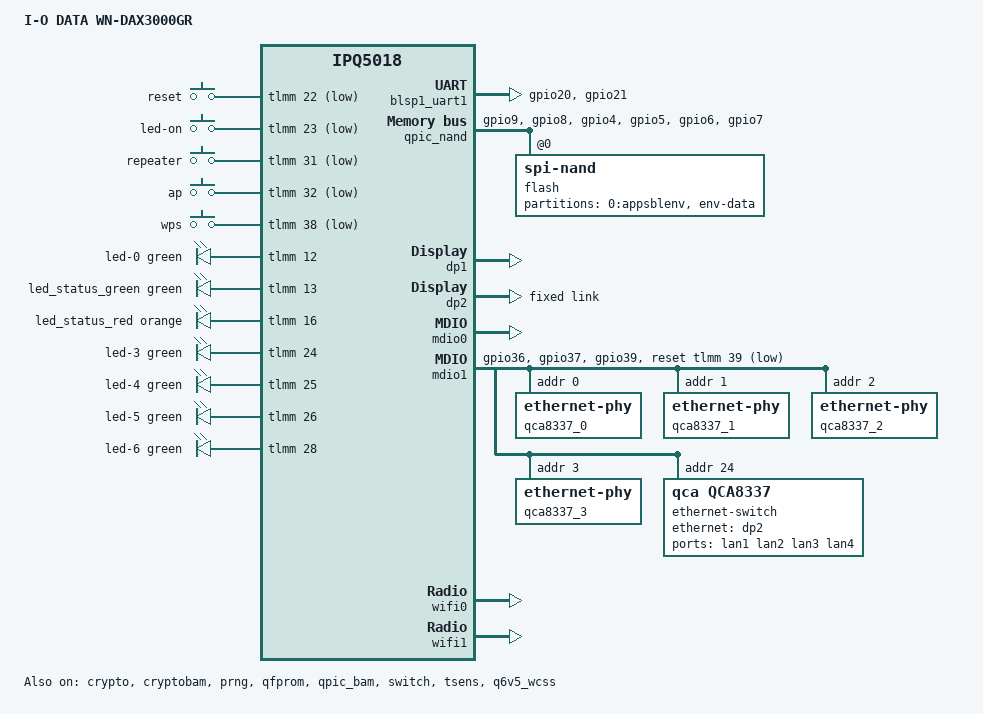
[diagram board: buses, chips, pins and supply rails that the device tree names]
// SPDX-License-Identifier: GPL-2.0-or-later OR MIT

/dts-v1/;

#include "ipq5018.dtsi"
#include "ipq5018-ess.dtsi"

#include <dt-bindings/gpio/gpio.h>
#include <dt-bindings/input/input.h>
#include <dt-bindings/leds/common.h>

/ {
	model = "I-O DATA WN-DAX3000GR";
	compatible = "iodata,wn-dax3000gr", "qcom,ipq5018";

	aliases {
		serial0 = &blsp1_uart1;
		led-boot = &led_status_green;
		led-failsafe = &led_status_red;
		led-upgrade = &led_status_green;
		label-mac-device = <&dp1>;
	};

	chosen {
		bootargs-append = " root=/dev/ubiblock0_1 coherent_pool=2M";
		stdout-path = "serial0:115200n8";
	};

	keys {
		compatible = "gpio-keys";
		pinctrl-0 = <&button_pins>;
		pinctrl-names = "default";

		button-reset {
			label = "reset";
			gpios = <&tlmm 22 GPIO_ACTIVE_LOW>;
			linux,code = <KEY_RESTART>;
		};

		switch-led-on {
			label = "led-on";
			gpios = <&tlmm 23 GPIO_ACTIVE_LOW>;
			linux,code = <BTN_0>;
			linux,input-type = <EV_SW>;
		};

		switch-repeater {
			label = "repeater";
			gpios = <&tlmm 31 GPIO_ACTIVE_LOW>;
			linux,code = <BTN_1>;
			linux,input-type = <EV_SW>;
		};

		switch-ap {
			label = "ap";
			gpios = <&tlmm 32 GPIO_ACTIVE_LOW>;
			linux,code = <BTN_2>;
			linux,input-type = <EV_SW>;
		};

		button-wps {
			label = "wps";
			gpios = <&tlmm 38 GPIO_ACTIVE_LOW>;
			linux,code = <KEY_WPS_BUTTON>;
		};
	};

	leds {
		compatible = "gpio-leds";
		pinctrl-0 = <&led_pins>;
		pinctrl-names = "default";

		led-0 {
			gpios = <&tlmm 12 GPIO_ACTIVE_HIGH>;
			color = <LED_COLOR_ID_GREEN>;
			function = LED_FUNCTION_WPS;
		};

		led_status_green: led-1 {
			gpios = <&tlmm 13 GPIO_ACTIVE_HIGH>;
			color = <LED_COLOR_ID_GREEN>;
			function = LED_FUNCTION_STATUS;
		};

		led_status_red: led-2 {
			gpios = <&tlmm 16 GPIO_ACTIVE_HIGH>;
			color = <LED_COLOR_ID_ORANGE>;
			function = LED_FUNCTION_STATUS;
		};

		led-3 {
			gpios = <&tlmm 24 GPIO_ACTIVE_HIGH>;
			color = <LED_COLOR_ID_GREEN>;
			function = LED_FUNCTION_WAN_ONLINE;
		};

		led-4 {
			gpios = <&tlmm 25 GPIO_ACTIVE_HIGH>;
			color = <LED_COLOR_ID_GREEN>;
			function = "router";
		};

		led-5 {
			gpios = <&tlmm 26 GPIO_ACTIVE_HIGH>;
			color = <LED_COLOR_ID_GREEN>;
			function = LED_FUNCTION_POWER;
			default-state = "on";
		};

		led-6 {
			gpios = <&tlmm 28 GPIO_ACTIVE_HIGH>;
			color = <LED_COLOR_ID_GREEN>;
			function = LED_FUNCTION_WAN;
		};
	};

	reserved-memory {
		q6_mem_regions: q6_mem_regions@4b000000 {
			no-map;
			reg = <0x0 0x4b000000 0x0 0x3000000>;
		};
	};
};

&sleep_clk {
	clock-frequency = <32000>;
};

&xo_board_clk {
	clock-frequency = <24000000>;
};

&blsp1_uart1 {
	status = "okay";

	pinctrl-0 = <&serial_0_pins>;
	pinctrl-names = "default";
};

&crypto {
	status = "okay";
};

&cryptobam {
	status = "okay";
};

&prng {
	status = "okay";
};

&qfprom {
	status = "okay";
};

&qpic_bam {
	status = "okay";
};

&qpic_nand {
	pinctrl-0 = <&qpic_pins>;
	pinctrl-names = "default";
	status = "okay";

	flash@0 {
		compatible = "spi-nand";
		reg = <0>;
		#address-cells = <1>;
		#size-cells = <1>;

		nand-ecc-engine = <&qpic_nand>;

		/* strength=8 breaks NAND I/O, use 4 instead */
		nand-ecc-strength = <4>;
		nand-ecc-step-size = <512>;
		nand-bus-width = <8>;

		partitions {
			compatible = "qcom,smem-part";

			partition-0-appsblenv {
				compatible = "fixed-partitions";
				label = "0:appsblenv";
				#address-cells = <1>;
				#size-cells = <1>;

				partition@0 {
					label = "env-data";
					reg = <0x0 0x40000>;

					nvmem-layout {
						compatible = "u-boot,env";

						macaddr_appsblenv_ethaddr: ethaddr {
							compatible = "mac-base";
							#nvmem-cell-cells = <1>;
						};
					};
				};
			};
		};
	};
};

&switch {
	status = "okay";

	switch_mac_mode = <MAC_MODE_SGMII_CHANNEL0>;

	qcom,port_phyinfo {
		port@0 {
			port_id = <1>;
			mdiobus = <&mdio0>;
			phy_address = <7>;
		};

		port@1 {
			port_id = <2>;
			forced-speed = <1000>;
			forced-duplex = <1>;
		};
	};
};

&dp1 {
	status = "okay";

	label = "wan";
	nvmem-cells = <&macaddr_appsblenv_ethaddr 2>;
	nvmem-cell-names = "mac-address";
};

&dp2 {
	status = "okay";

	nvmem-cells = <&macaddr_appsblenv_ethaddr 0>;
	nvmem-cell-names = "mac-address";

	fixed-link {
		speed = <1000>;
		full-duplex;
	};
};

&mdio0 {
	status = "okay";
};

&mdio1 {
	status = "okay";

	pinctrl-0 = <&mdio1_pins>, <&switch_reset_pins>;
	pinctrl-names = "default";
	reset-gpios = <&tlmm 39 GPIO_ACTIVE_LOW>;

	qca8337_0: ethernet-phy@0 {
		reg = <0>;
	};

	qca8337_1: ethernet-phy@1 {
		reg = <1>;
	};

	qca8337_2: ethernet-phy@2 {
		reg = <2>;
	};

	qca8337_3: ethernet-phy@3 {
		reg = <3>;
	};

	ethernet-switch@18 {
		compatible = "qca,qca8337";
		reg = <0x18>;
		#address-cells = <1>;
		#size-cells = <0>;

		ports {
			#address-cells = <1>;
			#size-cells = <0>;

			port@1 {
				reg = <1>;
				label = "lan1";
				phy-handle = <&qca8337_0>;
			};

			port@2 {
				reg = <2>;
				label = "lan2";
				phy-handle = <&qca8337_1>;
			};

			port@3 {
				reg = <3>;
				label = "lan3";
				phy-handle = <&qca8337_2>;
			};

			port@4 {
				reg = <4>;
				label = "lan4";
				phy-handle = <&qca8337_3>;
			};

			port@6 {
				reg = <6>;
				phy-mode = "sgmii";
				ethernet = <&dp2>;
				qca,sgmii-enable-pll;

				fixed-link {
					speed = <1000>;
					full-duplex;
				};
			};
		};
	};
};

&tlmm {
	button_pins: button-state {
		key-pullup-pins {
			pins = "gpio22", "gpio23", "gpio38";
			function = "gpio";
			drive-strength = <8>;
			bias-pull-up;
		};

		key-pulldown-pins {
			pins = "gpio31", "gpio32";
			function = "gpio";
			drive-strength = <8>;
			bias-pull-down;
		};
	};

	led_pins: led-state {
		pins = "gpio12", "gpio13", "gpio16", "gpio24",
		       "gpio25", "gpio26", "gpio28";
		function = "gpio";
		drive-strength = <8>;
		bias-pull-down;
	};

	mdio1_pins: mdio-state {
		mdc-pins {
			pins = "gpio36";
			function = "mdc";
			drive-strength = <8>;
			bias-pull-up;
		};

		mdio-pins {
			pins = "gpio37";
			function = "mdio";
			drive-strength = <8>;
			bias-pull-up;
		};
	};

	qpic_pins: qpic-state {
		clock-pins {
			pins = "gpio9";
			function = "qspi_clk";
			drive-strength = <8>;
			bias-disable;
		};

		cs-pins {
			pins = "gpio8";
			function = "qspi_cs";
			drive-strength = <8>;
			bias-disable;
		};

		data-pins {
			pins = "gpio4", "gpio5", "gpio6", "gpio7";
			function = "qspi_data";
			drive-strength = <8>;
			bias-disable;
		};
	};

	serial_0_pins: uart0-state {
		pins = "gpio20", "gpio21";
		function = "blsp0_uart0";
		bias-disable;
	};

	switch_reset_pins: switch-reset-state {
		pins = "gpio39";
		function = "gpio";
		drive-strength = <8>;
		bias-pull-down;
	};
};

&tsens {
	status = "okay";
};

&q6v5_wcss {
	status = "okay";

	memory-region = <&q6_mem_regions>;
	firmware-name = "ath11k/IPQ5018/hw1.0/q6_fw.mdt",
			"ath11k/IPQ5018/hw1.0/m3_fw.mdt",
			"ath11k/QCN6122/hw1.0/m3_fw.mdt";

	boot-args = <0x2 4 2 18 0 0>; /* pcie:1, len:4, updid:2, reset:gpio18 */

	q6_wcss_pd1: pd-1 {
		firmware-name = "ath11k/IPQ5018/hw1.0/q6_fw.mdt";

		resets =
			<&gcc GCC_WCSSAON_RESET>,
			<&gcc GCC_WCSS_BCR>,
			<&gcc GCC_CE_BCR>;
		reset-names =
			"wcss_aon_reset",
			"wcss_reset",
			"ce_reset";

		clocks =
			<&gcc GCC_WCSS_AHB_S_CLK>,
			<&gcc GCC_WCSS_ACMT_CLK>,
			<&gcc GCC_WCSS_AXI_M_CLK>;
		clock-names =
			"gcc_wcss_ahb_s_clk",
			"gcc_wcss_acmt_clk",
			"gcc_wcss_axi_m_clk";

		interrupts-extended =
			<&wcss_smp2p_in 8 IRQ_TYPE_NONE>,
			<&wcss_smp2p_in 9 IRQ_TYPE_NONE>,
			<&wcss_smp2p_in 12 IRQ_TYPE_NONE>,
			<&wcss_smp2p_in 11 IRQ_TYPE_NONE>;
		interrupt-names =
			"fatal",
			"ready",
			"spawn-ack",
			"stop-ack";

		qcom,smem-states =
			<&wcss_smp2p_out 8>,
			<&wcss_smp2p_out 9>,
			<&wcss_smp2p_out 10>;
		qcom,smem-state-names =
			"shutdown",
			"stop",
			"spawn";
	};

	q6_wcss_pd2: pd-2 {
		firmware-name = "ath11k/IPQ5018/hw1.0/q6_fw.mdt";

		interrupts-extended =
			<&wcss_smp2p_in 16 IRQ_TYPE_NONE>,
			<&wcss_smp2p_in 17 IRQ_TYPE_NONE>,
			<&wcss_smp2p_in 20 IRQ_TYPE_NONE>,
			<&wcss_smp2p_in 19 IRQ_TYPE_NONE>;
		interrupt-names =
			"fatal",
			"ready",
			"spawn-ack",
			"stop-ack";

		qcom,smem-states =
			<&wcss_smp2p_out 16>,
			<&wcss_smp2p_out 17>,
			<&wcss_smp2p_out 18>;
		qcom,smem-state-names =
			"shutdown",
			"stop",
			"spawn";
	};
};

&wifi0 {
	status = "okay";

	qcom,rproc = <&q6_wcss_pd1>;
	qcom,ath11k-calibration-variant = "IODATA-WN-DAX3000GR";
	qcom,ath11k-fw-memory-mode = <2>;
	qcom,bdf-addr = <0x4c400000>;

	ieee80211-freq-limit = <2400000 2483000>;
};

&wifi1 {
	status = "okay";

	qcom,rproc = <&q6_wcss_pd2>;
	qcom,userpd-subsys-name = "q6v5_wcss_userpd2";
	qcom,ath11k-calibration-variant = "IODATA-WN-DAX3000GR";
	qcom,ath11k-fw-memory-mode = <2>;
	qcom,bdf-addr = <0x4d100000>;
	qcom,m3-dump-addr = <0x4df00000>;

	ieee80211-freq-limit = <5150000 5730000>;
};
